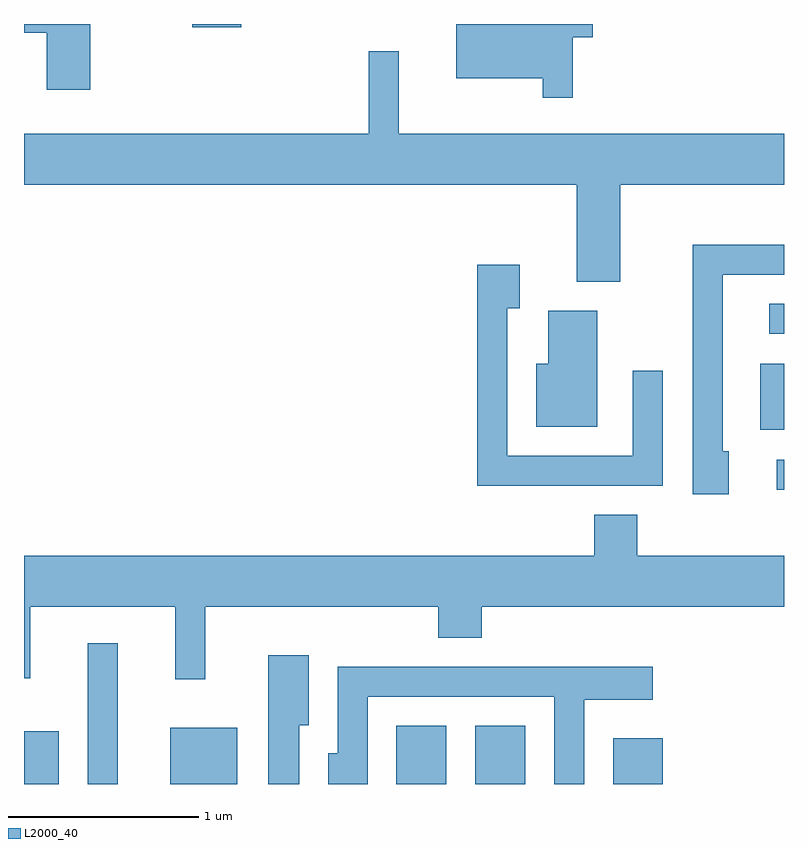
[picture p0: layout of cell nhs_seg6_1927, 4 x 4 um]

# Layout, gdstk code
import gdstk
lib = gdstk.Library(unit=1e-6, precision=1e-09)
def R(c, l, rs):  # rectangles x0, y0, x1, y1
    for r in rs: c.add(gdstk.rectangle(r[:2], r[2:], *l))
def P(c, l, *ps):  # polygons
    for p in ps: c.add(gdstk.Polygon(p, *l))
L2000_40 = (2000, 40)

nhs_seg6_1927 = lib.new_cell('nhs_seg6_1927')
R(nhs_seg6_1927, L2000_40, [(243.611,1600.162,243.794,1600.439), (243.946,1600.162,244.104,1600.903), (244.381,1600.162,244.734,1600.459), (245.571,1600.162,245.834,1600.469), (245.986,1600.162,246.249,1600.469), (246.711,1600.162,246.974,1600.404), (247.573,1601.711,247.611,1601.869), (247.486,1602.026,247.611,1602.374), (247.533,1602.531,247.611,1602.689), (244.496,1604.146,244.754,1604.162)])
P(nhs_seg6_1927, L2000_40, [(246.499,1604.091),(246.604,1604.091),(246.604,1604.162),(245.886,1604.162),(245.886,1603.876),(246.341,1603.876),(246.341,1603.773),(246.499,1603.773)],
  [(243.959,1604.162),(243.611,1604.162),(243.611,1604.116),(243.731,1604.116),(243.731,1603.816),(243.959,1603.816)],
  [(246.749,1603.316),(247.611,1603.316),(247.611,1603.584),(245.584,1603.584),(245.584,1604.018),(245.426,1604.018),(245.426,1603.584),(243.611,1603.584),(243.611,1603.316),(246.521,1603.316),(246.521,1602.806),(246.749,1602.806)],
  [(247.319,1601.914),(247.289,1601.914),(247.289,1602.841),(247.611,1602.841),(247.611,1602.999),(247.131,1602.999),(247.131,1601.686),(247.319,1601.686)],
  [(246.974,1602.338),(246.816,1602.338),(246.816,1601.889),(246.154,1601.889),(246.154,1602.666),(246.219,1602.666),(246.219,1602.894),(245.996,1602.894),(245.996,1601.731),(246.974,1601.731)],
  [(246.629,1602.654),(246.371,1602.654),(246.371,1602.374),(246.306,1602.374),(246.306,1602.041),(246.629,1602.041)],
  [(246.611,1601.579),(246.611,1601.364),(243.611,1601.364),(243.611,1600.718),(243.644,1600.718),(243.644,1601.096),(244.406,1601.096),(244.406,1600.713),(244.564,1600.713),(244.564,1601.096),(245.791,1601.096),(245.791,1600.931),(246.019,1600.931),(246.019,1601.096),(247.611,1601.096),(247.611,1601.364),(246.839,1601.364),(246.839,1601.579)],
  [(245.059,1600.471),(245.109,1600.471),(245.109,1600.839),(244.896,1600.839),(244.896,1600.162),(245.059,1600.162)],
  [(245.419,1600.621),(246.401,1600.621),(246.401,1600.162),(246.559,1600.162),(246.559,1600.606),(246.919,1600.606),(246.919,1600.779),(245.261,1600.779),(245.261,1600.324),(245.211,1600.324),(245.211,1600.162),(245.419,1600.162)])

lib.write_gds('nhs_seg6_1927.gds')
